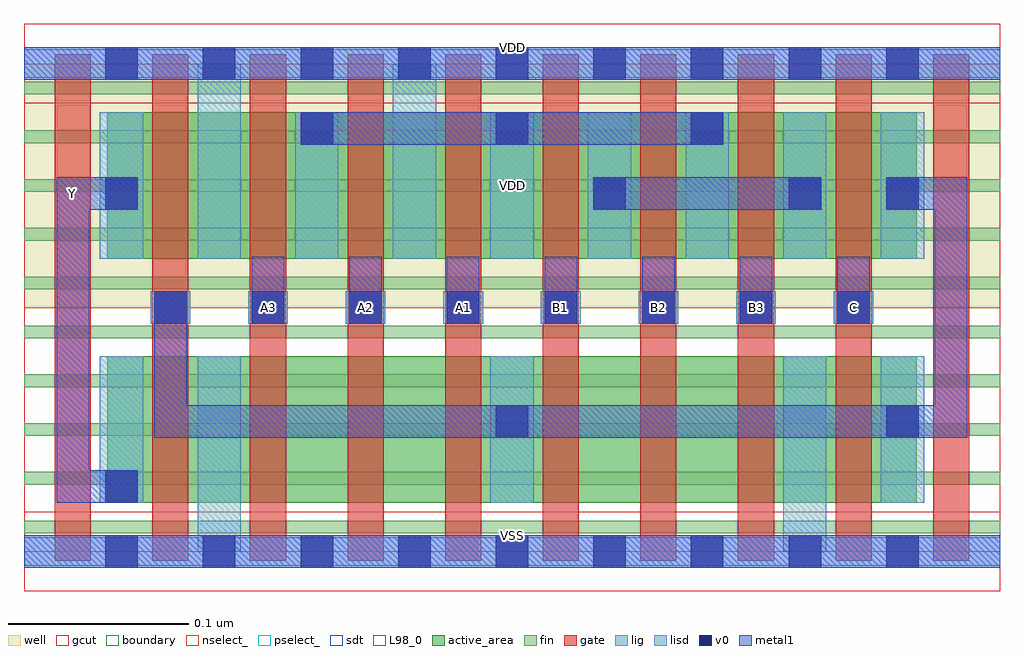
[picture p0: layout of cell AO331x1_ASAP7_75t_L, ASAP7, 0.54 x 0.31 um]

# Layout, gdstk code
import gdstk
lib = gdstk.Library(unit=1e-6, precision=2.5e-10)
def R(c, l, rs):  # rectangles x0, y0, x1, y1
    for r in rs: c.add(gdstk.rectangle(r[:2], r[2:], *l))
def A(c, l, x, y, w, h, nx, ny, dx, dy):  # array of equal rectangles
    R(c, l, [(x+i*dx, y+j*dy, x+i*dx+w, y+j*dy+h) for i in range(nx) for j in range(ny)])
def P(c, l, *ps):  # polygons
    for p in ps: c.add(gdstk.Polygon(p, *l))
well = (1, 0)
fin = (2, 0)
gate = (7, 0)
gcut = (10, 0)
active_area = (11, 0)
nselect_ = (12, 0)
pselect_ = (13, 0)
lig = (16, 0)
lisd = (17, 0)
v0 = (18, 0)
metal1 = (19, 0)
sdt = (88, 0)
L98_0 = (98, 0)
boundary = (100, 0)

ao331x1_asap7_75t_l = lib.new_cell('AO331x1_ASAP7_75t_L')
R(ao331x1_asap7_75t_l, well, [(0,0.135,0.54,0.27)])
A(ao331x1_asap7_75t_l, fin, 0, 0.01, 0.54, 0.007, 1, 10, 0, 0.027)
A(ao331x1_asap7_75t_l, gate, 0.017, -0.005, 0.02, 0.28, 10, 1, 0.054, 0)
R(ao331x1_asap7_75t_l, gcut, [(0,-0.022,0.54,0.022), (0,0.248,0.54,0.292)])
R(ao331x1_asap7_75t_l, active_area, [(0.046,0.027,0.494,0.108), (0.046,0.162,0.494,0.243)])
R(ao331x1_asap7_75t_l, nselect_, [(0,0,0.54,0.135)])
R(ao331x1_asap7_75t_l, pselect_, [(0,0.135,0.54,0.27)])
A(ao331x1_asap7_75t_l, lig, 0.07, 0.126, 0.022, 0.018, 8, 1, 0.054, 0)
R(ao331x1_asap7_75t_l, lig, [(0,-0.008,0.54,0.008), (0,0.262,0.54,0.278)])
A(ao331x1_asap7_75t_l, lisd, 0.042, 0.027, 0.024, 0.081, 3, 1, 0.216, 0)
A(ao331x1_asap7_75t_l, lisd, 0.042, 0.162, 0.024, 0.081, 3, 1, 0.108, 0)
A(ao331x1_asap7_75t_l, lisd, 0.312, 0.162, 0.024, 0.081, 4, 1, 0.054, 0)
R(ao331x1_asap7_75t_l, lisd, [(0.096,0,0.12,0.108), (0.096,0,0.12,0.108), (0.42,0,0.444,0.108), (0.42,0,0.444,0.108), (0.096,0.162,0.12,0.27), (0.096,0.162,0.12,0.27), (0.204,0.162,0.228,0.27), (0.204,0.162,0.228,0.27)])
A(ao331x1_asap7_75t_l, v0, 0.045, -0.009, 0.018, 0.018, 9, 2, 0.054, 0.27)
A(ao331x1_asap7_75t_l, v0, 0.072, 0.126, 0.018, 0.018, 8, 1, 0.054, 0)
A(ao331x1_asap7_75t_l, v0, 0.153, 0.225, 0.018, 0.018, 3, 1, 0.108, 0)
R(ao331x1_asap7_75t_l, v0, [(0.045,0.027,0.063,0.045), (0.261,0.063,0.279,0.081), (0.477,0.063,0.495,0.081), (0.045,0.189,0.063,0.207), (0.315,0.189,0.333,0.207), (0.423,0.189,0.441,0.207), (0.477,0.189,0.495,0.207)])
A(ao331x1_asap7_75t_l, metal1, 0.072, 0.126, 0.018, 0.018, 8, 1, 0.054, 0)
A(ao331x1_asap7_75t_l, metal1, 0.126, 0.126, 0.018, 0.037, 7, 1, 0.054, 0)
A(ao331x1_asap7_75t_l, metal1, 0.153, 0.225, 0.018, 0.018, 3, 1, 0.108, 0)
R(ao331x1_asap7_75t_l, metal1, [(0,-0.009,0.54,0.009), (0.045,0.027,0.063,0.045), (0.261,0.063,0.279,0.081), (0.477,0.063,0.495,0.081), (0.045,0.189,0.063,0.207), (0.315,0.189,0.333,0.207), (0.315,0.189,0.441,0.207), (0.423,0.189,0.441,0.207), (0.477,0.189,0.495,0.207), (0.153,0.225,0.387,0.243), (0,0.261,0.54,0.279)])
P(ao331x1_asap7_75t_l, metal1, [(0.063,0.045),(0.036,0.045),(0.036,0.189),(0.063,0.189),(0.063,0.207),(0.018,0.207),(0.018,0.027),(0.063,0.027)],
  [(0.477,0.207),(0.477,0.189),(0.504,0.189),(0.504,0.081),(0.09,0.081),(0.09,0.144),(0.072,0.144),(0.072,0.063),(0.522,0.063),(0.522,0.207)])
A(ao331x1_asap7_75t_l, sdt, 0.096, 0.027, 0.024, 0.081, 3, 1, 0.162, 0)
A(ao331x1_asap7_75t_l, sdt, 0.096, 0.162, 0.024, 0.081, 3, 1, 0.054, 0)
A(ao331x1_asap7_75t_l, sdt, 0.204, 0.162, 0.024, 0.081, 6, 1, 0.054, 0)
R(ao331x1_asap7_75t_l, sdt, [(0.042,0.027,0.066,0.108), (0.096,0.027,0.12,0.108), (0.42,0.027,0.444,0.108), (0.474,0.027,0.498,0.108), (0.042,0.162,0.066,0.243), (0.096,0.162,0.12,0.243)])
R(ao331x1_asap7_75t_l, L98_0, [(0,0,0.54,0.27)])
R(ao331x1_asap7_75t_l, boundary, [(0,0,0.54,0.27)])
ao331x1_asap7_75t_l.add(gdstk.Label('VDD', (0.27,0.2025), layer=1, texttype=251))
ao331x1_asap7_75t_l.add(gdstk.Label('VSS', (0.27,-0.0675), layer=3, texttype=251))
ao331x1_asap7_75t_l.add(gdstk.Label('VSS', (0.27,0.009), layer=19, texttype=251))
ao331x1_asap7_75t_l.add(gdstk.Label('VDD', (0.27,0.279), layer=19, texttype=251))
ao331x1_asap7_75t_l.add(gdstk.Label('Y', (0.027,0.198), layer=19, texttype=251))
ao331x1_asap7_75t_l.add(gdstk.Label('A3', (0.135,0.135), layer=19, texttype=251))
ao331x1_asap7_75t_l.add(gdstk.Label('A2', (0.189,0.135), layer=19, texttype=251))
ao331x1_asap7_75t_l.add(gdstk.Label('A1', (0.243,0.135), layer=19, texttype=251))
ao331x1_asap7_75t_l.add(gdstk.Label('B1', (0.297,0.135), layer=19, texttype=251))
ao331x1_asap7_75t_l.add(gdstk.Label('B2', (0.351,0.135), layer=19, texttype=251))
ao331x1_asap7_75t_l.add(gdstk.Label('B3', (0.405,0.135), layer=19, texttype=251))
ao331x1_asap7_75t_l.add(gdstk.Label('C', (0.459,0.135), layer=19, texttype=251))

lib.write_gds('AO331x1_ASAP7_75t_L.gds')
